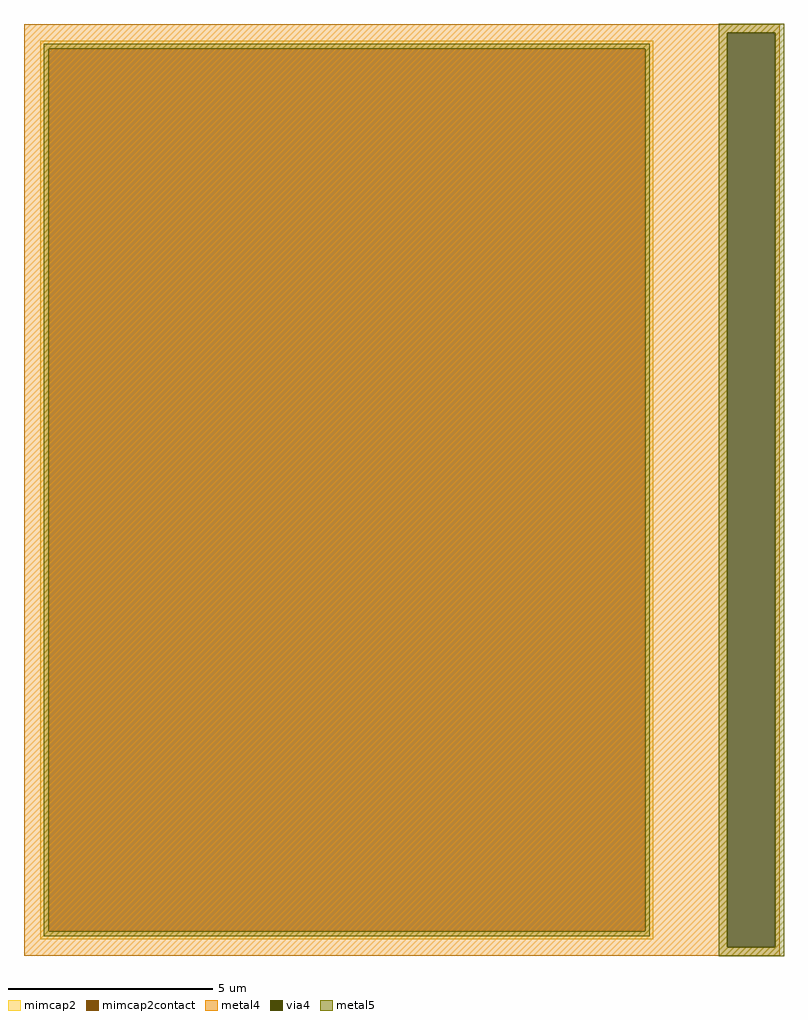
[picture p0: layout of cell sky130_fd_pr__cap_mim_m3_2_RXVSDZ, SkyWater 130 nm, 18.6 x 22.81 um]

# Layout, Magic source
magic
tech sky130A
magscale 1 2
<< metal4 >>
rect -1849 2239 1849 2280
rect -1849 -2239 1593 2239
rect 1829 -2239 1849 2239
rect -1849 -2280 1849 -2239
<< via4 >>
rect 1593 -2239 1829 2239
<< mimcap2 >>
rect -1769 2160 1231 2200
rect -1769 -2160 -1729 2160
rect 1191 -2160 1231 2160
rect -1769 -2200 1231 -2160
<< mimcap2contact >>
rect -1729 -2160 1191 2160
<< metal5 >>
rect 1551 2239 1871 2281
rect -1753 2160 1215 2184
rect -1753 -2160 -1729 2160
rect 1191 -2160 1215 2160
rect -1753 -2184 1215 -2160
rect 1551 -2239 1593 2239
rect 1829 -2239 1871 2239
rect 1551 -2281 1871 -2239
<< properties >>
string FIXED_BBOX -1849 -2280 1311 2280
string gencell sky130_fd_pr__cap_mim_m3_2
string library sky130
string parameters w 15 l 22 val 674.06 carea 2.00 cperi 0.19 nx 1 ny 1 dummy 0 square 0 lmin 2.00 wmin 2.00 lmax 30.0 wmax 30.0 dc 0 bconnect 1 tconnect 1 ccov 100
<< end >>
